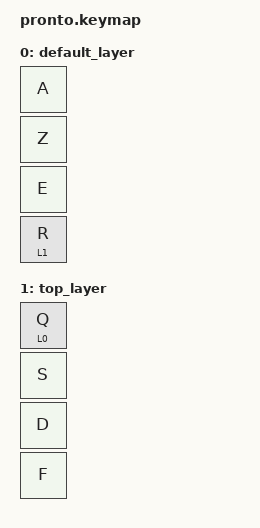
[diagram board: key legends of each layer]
#include <behaviors.dtsi>
#include <dt-bindings/zmk/keys.h>

/ {
    keymap {
        compatible = "zmk,keymap";

        default_layer { // Layer 0
            // -------------------------------------
            // |     A     |    Z    |    E    |    R/switch layer    | 

            bindings = <
                &kp A
                &kp Z
                &kp E
                &lt 1 R
            >;
        };

        top_layer { // Layer 1
            // -------------------------------------
            // |     Q/switch layer    |    S    |    D    |    F    | 

            bindings = <
                &lt 0 Q
                &kp S
                &kp D
                &kp F
            >;
        };
    };
 };
